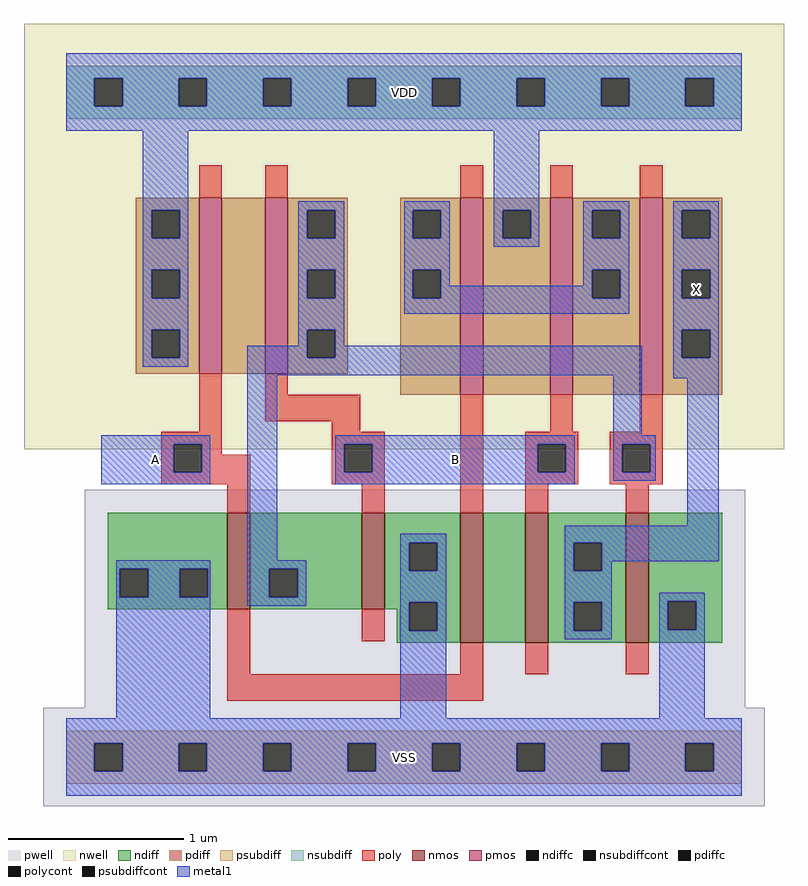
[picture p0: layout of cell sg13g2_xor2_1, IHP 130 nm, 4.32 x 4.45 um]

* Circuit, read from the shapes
.subckt sg13g2_xor2_1 X VDD B A VSS
XM1 n1 A VSS VSS sg13_lv_nmos w=0.55u l=0.13u
XM2 VSS B n1 VSS sg13_lv_nmos w=0.55u l=0.13u
XM3 n2 A VSS VSS sg13_lv_nmos w=0.74u l=0.13u
XM4 X B n2 VSS sg13_lv_nmos w=0.74u l=0.13u
XM5 VSS n1 X VSS sg13_lv_nmos w=0.74u l=0.13u
XM6 n3 A VDD VDD sg13_lv_pmos w=1u l=0.13u
XM7 n1 B n3 VDD sg13_lv_pmos w=1u l=0.13u
XM8 VDD A n4 VDD sg13_lv_pmos w=1.12u l=0.13u
XM9 n4 B VDD VDD sg13_lv_pmos w=1.12u l=0.13u
XM10 X n1 n4 VDD sg13_lv_pmos w=1.12u l=0.13u
.ends

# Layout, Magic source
magic
tech ihp-sg13g2
magscale 1 2
<< nwell >>
rect -48 350 816 834
<< pwell >>
rect 21 56 772 304
rect -26 -56 794 56
<< nmos >>
rect 183 168 209 278
rect 336 168 362 278
rect 448 130 474 278
rect 522 130 548 278
rect 636 130 662 278
<< pmos >>
rect 151 436 177 636
rect 226 436 252 636
rect 448 412 474 636
rect 550 412 576 636
rect 652 412 678 636
<< ndiff >>
rect 47 214 183 278
rect 47 182 61 214
rect 93 182 129 214
rect 161 182 183 214
rect 47 168 183 182
rect 209 214 336 278
rect 209 182 231 214
rect 263 182 336 214
rect 209 168 336 182
rect 362 244 448 278
rect 362 212 390 244
rect 422 212 448 244
rect 362 176 448 212
rect 362 168 390 176
rect 376 144 390 168
rect 422 144 448 176
rect 376 130 448 144
rect 474 130 522 278
rect 548 244 636 278
rect 548 212 577 244
rect 609 212 636 244
rect 548 176 636 212
rect 548 144 577 176
rect 609 144 636 176
rect 548 130 636 144
rect 662 177 746 278
rect 662 145 684 177
rect 716 145 746 177
rect 662 130 746 145
<< pdiff >>
rect 79 622 151 636
rect 79 590 97 622
rect 129 590 151 622
rect 79 554 151 590
rect 79 522 97 554
rect 129 522 151 554
rect 79 486 151 522
rect 79 454 97 486
rect 129 454 151 486
rect 79 436 151 454
rect 177 436 226 636
rect 252 622 320 636
rect 252 590 274 622
rect 306 590 320 622
rect 252 554 320 590
rect 252 522 274 554
rect 306 522 320 554
rect 252 486 320 522
rect 252 454 274 486
rect 306 454 320 486
rect 252 436 320 454
rect 380 622 448 636
rect 380 590 394 622
rect 426 590 448 622
rect 380 554 448 590
rect 380 522 394 554
rect 426 522 448 554
rect 380 412 448 522
rect 474 622 550 636
rect 474 590 496 622
rect 528 590 550 622
rect 474 412 550 590
rect 576 622 652 636
rect 576 590 598 622
rect 630 590 652 622
rect 576 554 652 590
rect 576 522 598 554
rect 630 522 652 554
rect 576 412 652 522
rect 678 622 746 636
rect 678 590 700 622
rect 732 590 746 622
rect 678 554 746 590
rect 678 522 700 554
rect 732 522 746 554
rect 678 486 746 522
rect 678 454 700 486
rect 732 454 746 486
rect 678 412 746 454
<< ndiffc >>
rect 61 182 93 214
rect 129 182 161 214
rect 231 182 263 214
rect 390 212 422 244
rect 390 144 422 176
rect 577 212 609 244
rect 577 144 609 176
rect 684 145 716 177
<< pdiffc >>
rect 97 590 129 622
rect 97 522 129 554
rect 97 454 129 486
rect 274 590 306 622
rect 274 522 306 554
rect 274 454 306 486
rect 394 590 426 622
rect 394 522 426 554
rect 496 590 528 622
rect 598 590 630 622
rect 598 522 630 554
rect 700 590 732 622
rect 700 522 732 554
rect 700 454 732 486
<< psubdiff >>
rect 0 16 768 30
rect 0 -16 32 16
rect 64 -16 128 16
rect 160 -16 224 16
rect 256 -16 320 16
rect 352 -16 416 16
rect 448 -16 512 16
rect 544 -16 608 16
rect 640 -16 704 16
rect 736 -16 768 16
rect 0 -30 768 -16
<< nsubdiff >>
rect 0 772 768 786
rect 0 740 32 772
rect 64 740 128 772
rect 160 740 224 772
rect 256 740 320 772
rect 352 740 416 772
rect 448 740 512 772
rect 544 740 608 772
rect 640 740 704 772
rect 736 740 768 772
rect 0 726 768 740
<< psubdiffcont >>
rect 32 -16 64 16
rect 128 -16 160 16
rect 224 -16 256 16
rect 320 -16 352 16
rect 416 -16 448 16
rect 512 -16 544 16
rect 608 -16 640 16
rect 704 -16 736 16
<< nsubdiffcont >>
rect 32 740 64 772
rect 128 740 160 772
rect 224 740 256 772
rect 320 740 352 772
rect 416 740 448 772
rect 512 740 544 772
rect 608 740 640 772
rect 704 740 736 772
<< poly >>
rect 151 636 177 673
rect 226 636 252 673
rect 448 636 474 673
rect 550 636 576 673
rect 652 636 678 673
rect 151 370 177 436
rect 226 412 252 436
rect 226 382 334 412
rect 108 356 177 370
rect 108 324 122 356
rect 154 344 177 356
rect 302 370 334 382
rect 302 356 362 370
rect 154 324 209 344
rect 108 310 209 324
rect 302 324 316 356
rect 348 324 362 356
rect 302 310 362 324
rect 183 278 209 310
rect 336 278 362 310
rect 448 278 474 412
rect 550 370 576 412
rect 652 370 678 412
rect 522 356 582 370
rect 522 324 536 356
rect 568 324 582 356
rect 522 310 582 324
rect 618 356 678 370
rect 618 324 632 356
rect 664 324 678 356
rect 618 310 678 324
rect 522 278 548 310
rect 636 278 662 310
rect 183 94 209 168
rect 336 132 362 168
rect 448 94 474 130
rect 522 94 548 130
rect 636 94 662 130
rect 183 64 474 94
<< polycont >>
rect 122 324 154 356
rect 316 324 348 356
rect 536 324 568 356
rect 632 324 664 356
<< metal1 >>
rect 0 772 768 800
rect 0 740 32 772
rect 64 740 128 772
rect 160 740 224 772
rect 256 740 320 772
rect 352 740 416 772
rect 448 740 512 772
rect 544 740 608 772
rect 640 740 704 772
rect 736 740 768 772
rect 0 712 768 740
rect 87 622 139 712
rect 87 590 97 622
rect 129 590 139 622
rect 87 554 139 590
rect 87 522 97 554
rect 129 522 139 554
rect 87 486 139 522
rect 87 454 97 486
rect 129 454 139 486
rect 264 622 316 632
rect 264 590 274 622
rect 306 590 316 622
rect 264 554 316 590
rect 264 522 274 554
rect 306 522 316 554
rect 264 486 316 522
rect 384 622 436 632
rect 384 590 394 622
rect 426 590 436 622
rect 384 554 436 590
rect 486 622 538 712
rect 486 590 496 622
rect 528 590 538 622
rect 486 580 538 590
rect 588 622 640 632
rect 588 590 598 622
rect 630 590 640 622
rect 384 522 394 554
rect 426 536 436 554
rect 588 554 640 590
rect 588 536 598 554
rect 426 522 598 536
rect 630 522 640 554
rect 384 504 640 522
rect 690 622 742 632
rect 690 590 700 622
rect 732 590 742 622
rect 690 554 742 590
rect 690 522 700 554
rect 732 522 742 554
rect 264 468 274 486
rect 87 444 139 454
rect 206 454 274 468
rect 306 468 316 486
rect 690 486 742 522
rect 306 454 654 468
rect 206 434 654 454
rect 40 356 164 366
rect 40 324 122 356
rect 154 324 164 356
rect 40 310 164 324
rect 206 224 240 434
rect 622 366 654 434
rect 690 454 700 486
rect 732 454 742 486
rect 690 431 742 454
rect 306 356 578 366
rect 306 324 316 356
rect 348 324 536 356
rect 568 324 578 356
rect 306 310 578 324
rect 622 356 670 366
rect 622 324 632 356
rect 664 324 670 356
rect 622 314 670 324
rect 706 263 742 431
rect 380 244 432 254
rect 57 214 164 224
rect 57 182 61 214
rect 93 182 129 214
rect 161 182 164 214
rect 57 44 164 182
rect 206 214 273 224
rect 206 182 231 214
rect 263 182 273 214
rect 206 172 273 182
rect 380 212 390 244
rect 422 212 432 244
rect 380 176 432 212
rect 380 144 390 176
rect 422 144 432 176
rect 380 44 432 144
rect 567 244 742 263
rect 567 212 577 244
rect 609 223 742 244
rect 609 212 620 223
rect 567 176 620 212
rect 567 144 577 176
rect 609 144 620 176
rect 567 134 620 144
rect 674 177 726 187
rect 674 145 684 177
rect 716 145 726 177
rect 674 44 726 145
rect 0 16 768 44
rect 0 -16 32 16
rect 64 -16 128 16
rect 160 -16 224 16
rect 256 -16 320 16
rect 352 -16 416 16
rect 448 -16 512 16
rect 544 -16 608 16
rect 640 -16 704 16
rect 736 -16 768 16
rect 0 -44 768 -16
<< labels >>
flabel metal1 s 690 431 742 632 0 FreeSans 400 0 0 0 X
port 2 nsew
flabel metal1 s 0 712 768 800 0 FreeSans 400 0 0 0 VDD
port 3 nsew
flabel metal1 s 306 310 578 366 0 FreeSans 400 0 0 0 B
port 4 nsew
flabel metal1 s 40 310 164 366 0 FreeSans 400 0 0 0 A
port 5 nsew
flabel metal1 s 0 -44 768 44 0 FreeSans 400 0 0 0 VSS
port 6 nsew
<< properties >>
string FIXED_BBOX 0 0 768 756
<< end >>
